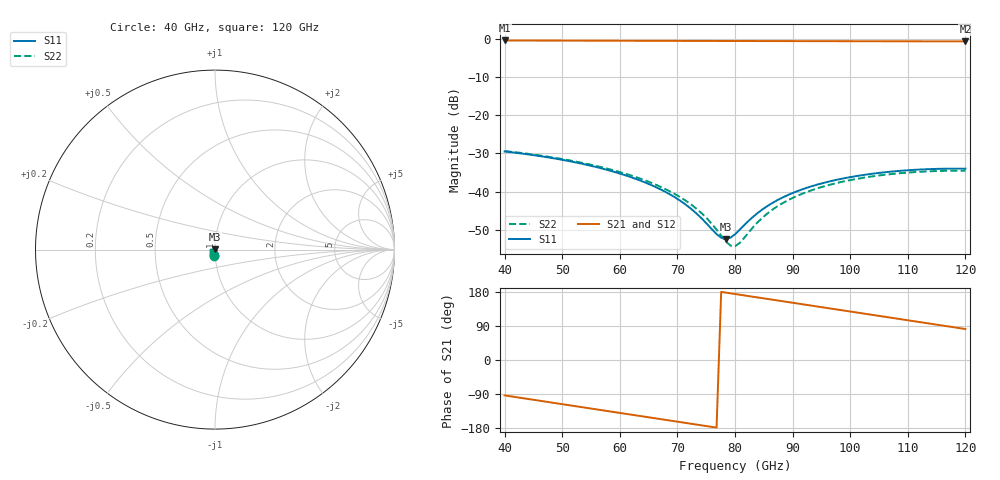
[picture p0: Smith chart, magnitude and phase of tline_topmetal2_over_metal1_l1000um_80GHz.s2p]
#  GHZ S DB R 50
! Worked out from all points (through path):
!   101 points, 40 GHz to 120 GHz, reference 50 ohm
!   highest |S21| = -0.50 dB at 40 GHz (marker M1); lowest = -0.8 dB at 120 GHz (marker M2)
!   group delay of S21, straight-line fit = 6.42 ps
!   lowest |S11| = -52.4 dB at 78.4 GHz (marker M3), VSWR 1.00, Z = 50.1 + j0.22 ohm
!   |S11| at or under -10 dB: start of sweep to end of sweep
!   |S22| runs from -54.3 to -29.4 dB; largest |S21 - S12| = 1.1e-14
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40  -29.52 -101.7  -0.50 -93.4  -0.50 -93.4  -29.41 -101.7
46.4  -30.79 -120.3  -0.53 -108.2  -0.53 -108.2  -30.63 -120.1
53.6  -32.79 -141.6  -0.56 -124.9  -0.56 -124.9  -32.53 -141.1
60.8  -35.67 -163.8  -0.58 -141.5  -0.58 -141.5  -35.25 -162.7
67.2  -39.53 173.9  -0.61 -156.3  -0.61 -156.3  -38.84 176.4
70.4  -42.31 160.0  -0.62 -163.7  -0.62 -163.7  -41.38 164.2
73.6  -46.13 140.5  -0.63 -171.1  -0.63 -171.1  -44.84 148.9
75.2  -48.57 125.2  -0.63 -174.7  -0.63 -174.7  -47.14 138.2
76.8  -51.12 101.4  -0.64 -178.4  -0.64 -178.4  -49.95 122.6
77.6  -52.06 85.0  -0.64 179.7  -0.64 179.7  -51.52 111.2
78.4  -52.42 66.4  -0.64 177.9  -0.64 177.9  -53.02 96.0
79.2  -52.07 47.9  -0.64 176.0  -0.64 176.0  -54.10 76.3
80  -51.16 31.9  -0.65 174.2  -0.65 174.2  -54.27 54.1
80.8  -49.99 18.9  -0.65 172.3  -0.65 172.3  -53.46 33.5
83.2  -46.52 -6.3  -0.66 166.8  -0.66 166.8  -49.21 -4.2
86.4  -43.06 -25.6  -0.66 159.4  -0.66 159.4  -44.84 -27.0
89.6  -40.64 -39.3  -0.67 152.0  -0.67 152.0  -41.97 -41.4
93.6  -38.48 -53.5  -0.68 142.8  -0.68 142.8  -39.51 -55.9
100  -36.23 -73.8  -0.70 128.0  -0.70 128.0  -37.01 -76.1
107.2  -34.78 -94.9  -0.72 111.3  -0.72 111.3  -35.41 -97.4
113.6  -34.14 -113.2  -0.74 96.5  -0.74 96.5  -34.71 -115.8
120  -34.02 -131.3  -0.76 81.8  -0.76 81.8  -34.55 -134.0
